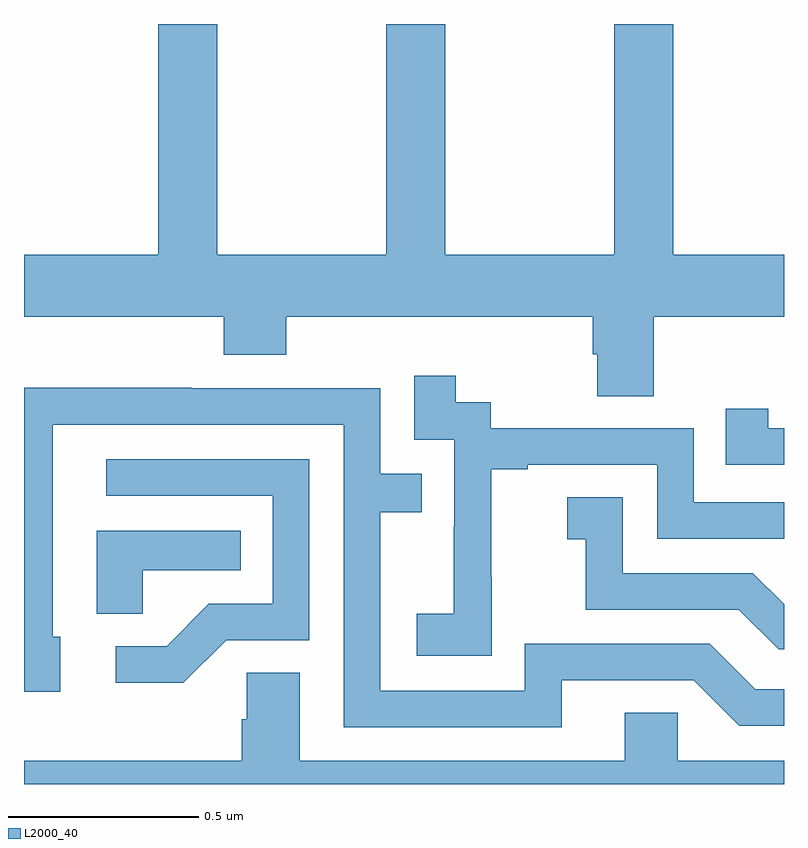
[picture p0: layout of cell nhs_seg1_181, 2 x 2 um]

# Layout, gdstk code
import gdstk
lib = gdstk.Library(unit=1e-6, precision=1e-09)
def P(c, l, *ps):  # polygons
    for p in ps: c.add(gdstk.Polygon(p, *l))
L2000_40 = (2000, 40)

nhs_seg1_181 = lib.new_cell('nhs_seg1_181')
P(nhs_seg1_181, L2000_40, [(114.657,522.428),(115,522.428),(115,522.592),(114.708,522.592),(114.708,523.199),(114.553,523.199),(114.553,522.592),(114.108,522.592),(114.108,523.199),(113.953,523.199),(113.953,522.592),(113.508,522.592),(113.508,523.199),(113.353,523.199),(113.353,522.592),(113,522.592),(113,522.428),(113.525,522.428),(113.525,522.329),(113.69,522.329),(113.69,522.428),(114.497,522.428),(114.497,522.33),(114.509,522.33),(114.509,522.22),(114.657,522.22)],
  [(114.231,521.743),(114.23,521.743),(114.23,522.027),(114.325,522.027),(114.325,522.039),(114.666,522.039),(114.666,521.844),(115,521.844),(115,521.94),(114.762,521.94),(114.762,522.135),(114.228,522.135),(114.228,522.204),(114.136,522.204),(114.136,522.274),(114.027,522.274),(114.027,522.105),(114.132,522.105),(114.132,521.876),(114.131,521.876),(114.131,521.647),(114.033,521.647),(114.033,521.537),(114.231,521.537)],
  [(114.415,521.472),(114.762,521.472),(114.882,521.352),(115,521.352),(115,521.448),(114.924,521.448),(114.804,521.568),(114.318,521.568),(114.318,521.445),(113.937,521.445),(113.937,521.914),(114.047,521.914),(114.047,522.015),(113.937,522.015),(113.937,522.24),(113.441,522.24),(113.441,522.242),(113,522.242),(113,521.442),(113.095,521.442),(113.095,521.586),(113.076,521.586),(113.076,522.144),(113.841,522.144),(113.841,521.349),(114.415,521.349)],
  [(115,522.135),(114.958,522.135),(114.958,522.187),(114.847,522.187),(114.847,522.039),(115,522.039)],
  [(113.532,521.577),(113.751,521.577),(113.751,522.054),(113.217,522.054),(113.217,521.958),(113.655,521.958),(113.655,521.673),(113.486,521.673),(113.375,521.562),(113.241,521.562),(113.241,521.465),(113.419,521.465)],
  [(115,521.672),(114.918,521.754),(114.576,521.754),(114.576,521.953),(114.429,521.953),(114.429,521.843),(114.478,521.843),(114.478,521.658),(114.881,521.658),(114.986,521.553),(115,521.553)],
  [(113.313,521.762),(113.57,521.762),(113.57,521.866),(113.192,521.866),(113.192,521.647),(113.313,521.647)],
  [(115,521.26),(114.72,521.26),(114.72,521.387),(114.581,521.387),(114.581,521.26),(113.725,521.26),(113.725,521.492),(113.586,521.492),(113.586,521.369),(113.573,521.369),(113.573,521.26),(113,521.26),(113,521.199),(115,521.199)])

lib.write_gds('nhs_seg1_181.gds')
